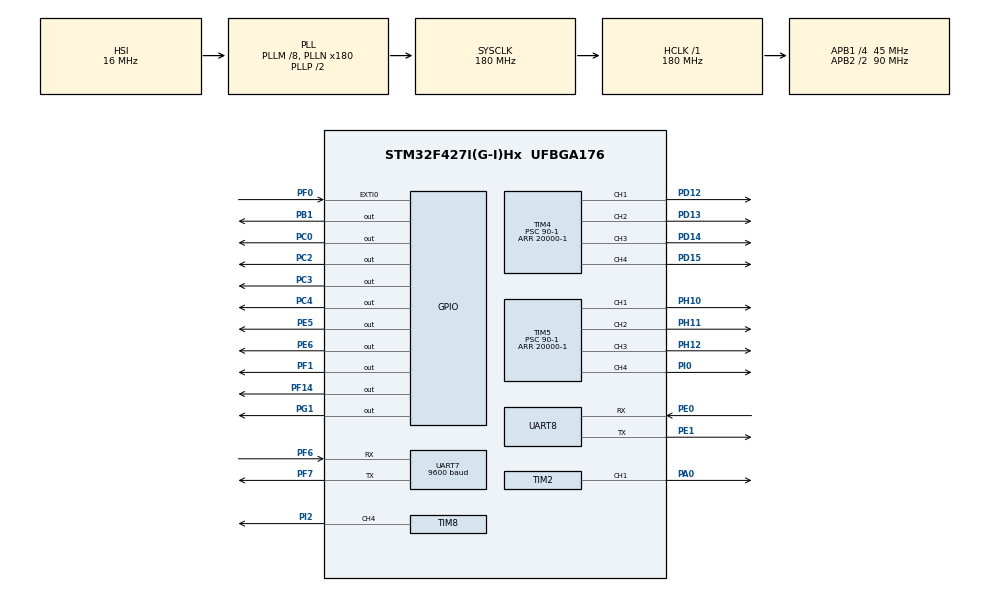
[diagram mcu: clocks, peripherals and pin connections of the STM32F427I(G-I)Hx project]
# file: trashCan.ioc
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FREERTOS.Tasks01=defaultTask,24,128,StartDefaultTask,Default,NULL,Dynamic,NULL,NULL;cloudPlatform,24,128,StartTask02,Default,NULL,Dynamic,NULL,NULL;pawlTask,24,128,StartTask03,Default,NULL,Dynamic,NULL,NULL
Mcu.Family=STM32F4
Mcu.Name=STM32F427I(G-I)Hx
Mcu.Package=UFBGA176
NVIC.EXTI0_IRQn=true\:5\:0\:false\:false\:true\:true\:true\:true\:true
NVIC.PriorityGroup=NVIC_PRIORITYGROUP_4
NVIC.TIM1_UP_TIM10_IRQn=true\:15\:0\:false\:false\:true\:false\:false\:true\:true
NVIC.TIM2_IRQn=true\:5\:0\:false\:false\:true\:true\:true\:true\:true
NVIC.TIM3_IRQn=true\:5\:0\:false\:false\:true\:true\:true\:true\:true
NVIC.TIM8_BRK_TIM12_IRQn=true\:5\:0\:false\:false\:true\:true\:true\:true\:true
NVIC.TIM8_CC_IRQn=true\:5\:0\:false\:false\:true\:true\:true\:true\:true
NVIC.TIM8_UP_TIM13_IRQn=true\:5\:0\:false\:false\:true\:true\:true\:true\:true
NVIC.TimeBase=TIM1_UP_TIM10_IRQn
NVIC.TimeBaseIP=TIM1
NVIC.UART7_IRQn=true\:5\:0\:false\:false\:true\:true\:true\:true\:true
NVIC.UART8_IRQn=true\:5\:0\:false\:false\:true\:true\:true\:true\:true
PA0/WKUP.Signal=S_TIM2_CH1_ETR
PA13.Mode=Serial_Wire
PA13.Signal=SYS_JTMS-SWDIO
PA14.Mode=Serial_Wire
PA14.Signal=SYS_JTCK-SWCLK
PB1.Signal=GPIO_Output
PC0.Signal=GPIO_Output
PC2.Signal=GPIO_Output
PC3.Signal=GPIO_Output
PC4.Signal=GPIO_Output
PD12.Signal=S_TIM4_CH1
PD13.Signal=S_TIM4_CH2
PD14.Signal=S_TIM4_CH3
PD15.Signal=S_TIM4_CH4
PE0.Mode=Asynchronous
PE0.Signal=UART8_RX
PE1.Mode=Asynchronous
PE1.Signal=UART8_TX
PE5.Signal=GPIO_Output
PE6.Signal=GPIO_Output
PF0.GPIO_ModeDefaultEXTI=GPIO_MODE_IT_RISING_FALLING
PF0.Signal=GPXTI0
PF1.Signal=GPIO_Output
PF14.Signal=GPIO_Output
PF6.Mode=Asynchronous
PF6.Signal=UART7_RX
PF7.Mode=Asynchronous
PF7.Signal=UART7_TX
PG1.Signal=GPIO_Output
PH0/OSC_IN.Mode=HSE-External-Oscillator
PH0/OSC_IN.Signal=RCC_OSC_IN
PH1/OSC_OUT.Mode=HSE-External-Oscillator
PH1/OSC_OUT.Signal=RCC_OSC_OUT
PH10.Signal=S_TIM5_CH1
PH11.Signal=S_TIM5_CH2
PH12.Signal=S_TIM5_CH3
PI0.Signal=S_TIM5_CH4
PI2.Signal=S_TIM8_CH4
ProjectManager.HeapSize=0x200
ProjectManager.StackSize=0x400
ProjectManager.TargetToolchain=MDK-ARM V5.32
RCC.48MHZClocksFreq_Value=90000000
RCC.AHBFreq_Value=180000000
RCC.APB1CLKDivider=RCC_HCLK_DIV4
RCC.APB1Freq_Value=45000000
RCC.APB1TimFreq_Value=90000000
RCC.APB2CLKDivider=RCC_HCLK_DIV2
RCC.APB2Freq_Value=90000000
RCC.APB2TimFreq_Value=180000000
RCC.CortexFreq_Value=180000000
RCC.HCLKFreq_Value=180000000
RCC.HSE_VALUE=25000000
RCC.HSI_VALUE=16000000
RCC.LSE_VALUE=32768
RCC.PLLM=8
RCC.PLLN=180
RCC.SYSCLKFreq_VALUE=180000000
RCC.SYSCLKSource=RCC_SYSCLKSOURCE_PLLCLK
RCC.VCOOutputFreq_Value=360000000
SH.S_TIM2_CH1_ETR.0=TIM2_CH1,PWM Generation1 CH1
SH.S_TIM4_CH1.0=TIM4_CH1,PWM Generation1 CH1
SH.S_TIM4_CH2.0=TIM4_CH2,PWM Generation2 CH2
SH.S_TIM4_CH3.0=TIM4_CH3,PWM Generation3 CH3
SH.S_TIM4_CH4.0=TIM4_CH4,PWM Generation4 CH4
SH.S_TIM5_CH1.0=TIM5_CH1,PWM Generation1 CH1
SH.S_TIM5_CH2.0=TIM5_CH2,PWM Generation2 CH2
SH.S_TIM5_CH3.0=TIM5_CH3,PWM Generation3 CH3
SH.S_TIM5_CH4.0=TIM5_CH4,PWM Generation4 CH4
SH.S_TIM8_CH4.0=TIM8_CH4,PWM Generation4 CH4
TIM2.Channel-PWM\ Generation1\ CH1=TIM_CHANNEL_1
TIM2.Period=10000-1
TIM2.Prescaler=90-1
TIM2.Pulse-PWM\ Generation1\ CH1=5000
TIM3.Prescaler=90-1
TIM4.Channel-PWM\ Generation1\ CH1=TIM_CHANNEL_1
TIM4.Channel-PWM\ Generation2\ CH2=TIM_CHANNEL_2
TIM4.Channel-PWM\ Generation3\ CH3=TIM_CHANNEL_3
TIM4.Channel-PWM\ Generation4\ CH4=TIM_CHANNEL_4
TIM4.Period=20000-1
TIM4.Prescaler=90-1
TIM5.Channel-PWM\ Generation1\ CH1=TIM_CHANNEL_1
TIM5.Channel-PWM\ Generation2\ CH2=TIM_CHANNEL_2
TIM5.Channel-PWM\ Generation3\ CH3=TIM_CHANNEL_3
TIM5.Channel-PWM\ Generation4\ CH4=TIM_CHANNEL_4
TIM5.Period=20000-1
TIM5.Prescaler=90-1
TIM8.AutoReloadPreload=TIM_AUTORELOAD_PRELOAD_ENABLE
TIM8.Channel-PWM\ Generation4\ CH4=TIM_CHANNEL_4
TIM8.Period=10000-1
TIM8.Prescaler=180-1
TIM8.Pulse-PWM\ Generation4\ CH4=5000
UART7.BaudRate=9600
UART7.VirtualMode=Asynchronous
UART8.VirtualMode=Asynchronous
VP_FREERTOS_VS_CMSIS_V2.Mode=CMSIS_V2
VP_SYS_VS_tim1.Mode=TIM1
VP_TIM3_VS_ClockSourceINT.Mode=Internal
VP_TIM4_VS_ClockSourceINT.Mode=Internal
VP_TIM5_VS_ClockSourceINT.Mode=Internal
VP_TIM8_VS_ClockSourceINT.Mode=Internal
board=custom

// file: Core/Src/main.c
/* USER CODE BEGIN Header */
/**
  ******************************************************************************
  * @file           : main.c
  * @brief          : Main program body
  ******************************************************************************
  * @attention
  *
  * Copyright (c) 2024 STMicroelectronics.
  * All rights reserved.
  *
  * This software is licensed under terms that can be found in the LICENSE file
  * in the root directory of this software component.
  * If no LICENSE file comes with this software, it is provided AS-IS.
  *
  ******************************************************************************
  */
/* USER CODE END Header */
#include "main.h"
#include "cmsis_os.h"
#include "tim.h"
#include "usart.h"
#include "gpio.h"

/* USER CODE BEGIN Includes */
#include <stdio.h>
#include "steer.h"
#include "connect.h"
#include "SR04.h"
#include "control.h"
#include "motor.h"
/* USER CODE END Includes */

void SystemClock_Config(void);
void MX_FREERTOS_Init(void);

/* USER CODE BEGIN 0 */
transportInfo info;
/* USER CODE END 0 */

int main(void)
{

  /* MCU Configuration--------------------------------------------------------*/

  /* Reset of all peripherals, Initializes the Flash interface and the Systick. */
  HAL_Init();

  /* Configure the system clock */
  SystemClock_Config();

  /* Initialize all configured peripherals */
  MX_GPIO_Init();
  MX_TIM4_Init();
  MX_TIM5_Init();
  MX_UART7_Init();
  MX_UART8_Init();
  MX_TIM8_Init();
  MX_TIM2_Init();
  MX_TIM3_Init();
  /* USER CODE BEGIN 2 */
  SR04_init();
  connectInit(&huart8);
  printf("receive start\n");
  steerInit();
	motorStart();
	//HAL_TIM_PWM_Start(&htim2,TIM_CHANNEL_1);
	__HAL_TIM_SetAutoreload(&htim2,5000);
	__HAL_TIM_SetCompare(&htim2,TIM_CHANNEL_1,2500);
	motorMove(100000000,1000);

//	setDegree(top,cloudSteerZero);
//  setDegree(bottom,cloudSteerZero);

  /* USER CODE END 2 */

  /* Init scheduler */
  osKernelInitialize();

  /* Call init function for freertos objects (in cmsis_os2.c) */
  MX_FREERTOS_Init();

  /* Start scheduler */
  osKernelStart();

  /* We should never get here as control is now taken by the scheduler */

  /* Infinite loop */
  while (1)
  {

    /* USER CODE BEGIN 3 */

    // if(receive(&info)==HAL_OK)
    //   printf("kind:%d\ncoordX:%d\ncoordY:%d\n\n",info.kind,info.coordX,info.coordY);
  }
  /* USER CODE END 3 */
}

void SystemClock_Config(void)
{
  RCC_OscInitTypeDef RCC_OscInitStruct = {0};
  RCC_ClkInitTypeDef RCC_ClkInitStruct = {0};

  /** Configure the main internal regulator output voltage
  */
  __HAL_RCC_PWR_CLK_ENABLE();
  __HAL_PWR_VOLTAGESCALING_CONFIG(PWR_REGULATOR_VOLTAGE_SCALE1);

  /** Initializes the RCC Oscillators according to the specified parameters
  * in the RCC_OscInitTypeDef structure.
  */
  RCC_OscInitStruct.OscillatorType = RCC_OSCILLATORTYPE_HSI;
  RCC_OscInitStruct.HSIState = RCC_HSI_ON;
  RCC_OscInitStruct.HSICalibrationValue = RCC_HSICALIBRATION_DEFAULT;
  RCC_OscInitStruct.PLL.PLLState = RCC_PLL_ON;
  RCC_OscInitStruct.PLL.PLLSource = RCC_PLLSOURCE_HSI;
  RCC_OscInitStruct.PLL.PLLM = 8;
  RCC_OscInitStruct.PLL.PLLN = 180;
  RCC_OscInitStruct.PLL.PLLP = RCC_PLLP_DIV2;
  RCC_OscInitStruct.PLL.PLLQ = 4;
  if (HAL_RCC_OscConfig(&RCC_OscInitStruct) != HAL_OK)
  {
    Error_Handler();
  }

  /** Activate the Over-Drive mode
  */
  if (HAL_PWREx_EnableOverDrive() != HAL_OK)
  {
    Error_Handler();
  }

  /** Initializes the CPU, AHB and APB buses clocks
  */
  RCC_ClkInitStruct.ClockType = RCC_CLOCKTYPE_HCLK|RCC_CLOCKTYPE_SYSCLK
                              |RCC_CLOCKTYPE_PCLK1|RCC_CLOCKTYPE_PCLK2;
  RCC_ClkInitStruct.SYSCLKSource = RCC_SYSCLKSOURCE_PLLCLK;
  RCC_ClkInitStruct.AHBCLKDivider = RCC_SYSCLK_DIV1;
  RCC_ClkInitStruct.APB1CLKDivider = RCC_HCLK_DIV4;
  RCC_ClkInitStruct.APB2CLKDivider = RCC_HCLK_DIV2;

  if (HAL_RCC_ClockConfig(&RCC_ClkInitStruct, FLASH_LATENCY_5) != HAL_OK)
  {
    Error_Handler();
  }
}

/* USER CODE BEGIN 4 */
int fputc(int ch, FILE *f)
{
  uint8_t c = ch;
  HAL_UART_Transmit(&huart8,&c,1,0xff);
  return c;
}
/* USER CODE END 4 */

void HAL_TIM_PeriodElapsedCallback(TIM_HandleTypeDef *htim)
{
  if (htim->Instance == TIM1) {
    HAL_IncTick();
  }
}

void Error_Handler(void)
{
  __disable_irq();
  while (1)
  {
  }
}

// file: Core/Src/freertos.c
/* USER CODE BEGIN Header */
/**
  ******************************************************************************
  * File Name          : freertos.c
  * Description        : Code for freertos applications
  ******************************************************************************
  * @attention
  *
  * Copyright (c) 2024 STMicroelectronics.
  * All rights reserved.
  *
  * This software is licensed under terms that can be found in the LICENSE file
  * in the root directory of this software component.
  * If no LICENSE file comes with this software, it is provided AS-IS.
  *
  ******************************************************************************
  */
/* USER CODE END Header */

#include "FreeRTOS.h"
#include "task.h"
#include "main.h"
#include "cmsis_os.h"

/* USER CODE BEGIN Includes */
#include "tim.h"
#include "SR04.h"
#include "steer.h"
#include "connect.h"
#include "control.h"
#include <stdio.h>
#include "trashCanConfig.h"
#include <stdlib.h>
#include "control.h"
#include "usart.h"
/* USER CODE END Includes */

/* USER CODE BEGIN PM */
extern transportInfo info;
/* USER CODE END PM */

/* USER CODE BEGIN Variables */
//存放识别到的垃圾种类和垃圾坐�?????
transportInfo* Info;
//垃圾桶是否满�?????
uint8_t  Detection;
/* USER CODE END Variables */
/* Definitions for defaultTask */
osThreadId_t defaultTaskHandle;
const osThreadAttr_t defaultTask_attributes = {
  .name = "defaultTask",
  .stack_size = 128 * 4,
  .priority = (osPriority_t) osPriorityNormal,
};
/* Definitions for cloudPlatform */
osThreadId_t cloudPlatformHandle;
const osThreadAttr_t cloudPlatform_attributes = {
  .name = "cloudPlatform",
  .stack_size = 128 * 4,
  .priority = (osPriority_t) osPriorityNormal,
};
/* Definitions for pawlTask */
osThreadId_t pawlTaskHandle;
const osThreadAttr_t pawlTask_attributes = {
  .name = "pawlTask",
  .stack_size = 128 * 4,
  .priority = (osPriority_t) osPriorityNormal,
};

void StartDefaultTask(void *argument);
void StartTask02(void *argument);
void StartTask03(void *argument);

void MX_FREERTOS_Init(void); /* (MISRA C 2004 rule 8.1) */

void MX_FREERTOS_Init(void) {
  /* USER CODE BEGIN Init */
  Info = (transportInfo*)malloc(sizeof(transportInfo));
  /* USER CODE END Init */

  /* Create the thread(s) */
  /* creation of defaultTask */
  defaultTaskHandle = osThreadNew(StartDefaultTask, NULL, &defaultTask_attributes);

  /* creation of cloudPlatform */
  cloudPlatformHandle = osThreadNew(StartTask02, NULL, &cloudPlatform_attributes);

  /* creation of pawlTask */
  pawlTaskHandle = osThreadNew(StartTask03, NULL, &pawlTask_attributes);

}

void StartDefaultTask(void *argument)
{
  /* USER CODE BEGIN StartDefaultTask */
	static uint8_t stableDetection=0;
  /* 无限循环 */
  for(;;)
  {
    // Detection = isFull();
    // if (Detection != 0)
    // {
    //   if (++stableDetection >= 5)  // �??要连�??5次检测到“满”状�??
    //   {
    //       printf("{\"operation\":\"0\",\"isFull\":%d}", Detection);
		// 			stableDetection = 0;
    //   }
    // }
    // else
    // {
    //   stableDetection = 0;  // 如果未检测到“满”，则重置稳定检测计�??
    // }

    vTaskDelete(NULL);

  }
  /* USER CODE END StartDefaultTask */
}

void StartTask02(void *argument)
{
  /* USER CODE BEGIN StartTask02 */
  /* Infinite loop */
  for(;;)
  {
    //等待视觉发�?�识别信息再启动分类
    //connect.c->串口接收中断发�??
      osThreadFlagsWait(0x01,osFlagsWaitAny,osWaitForever);
      receive(Info);
      {
        dumpTrash(Info);
        vTaskDelay(800);
        dumpReset(top,bottom);
        printf("{\"operation\":\"1\",\"isFull\":%d}",Detection);
      }
  }
  /* USER CODE END StartTask02 */
}

void StartTask03(void *argument)
{
  for(;;)
  {
    osDelay(1);
  }
}
